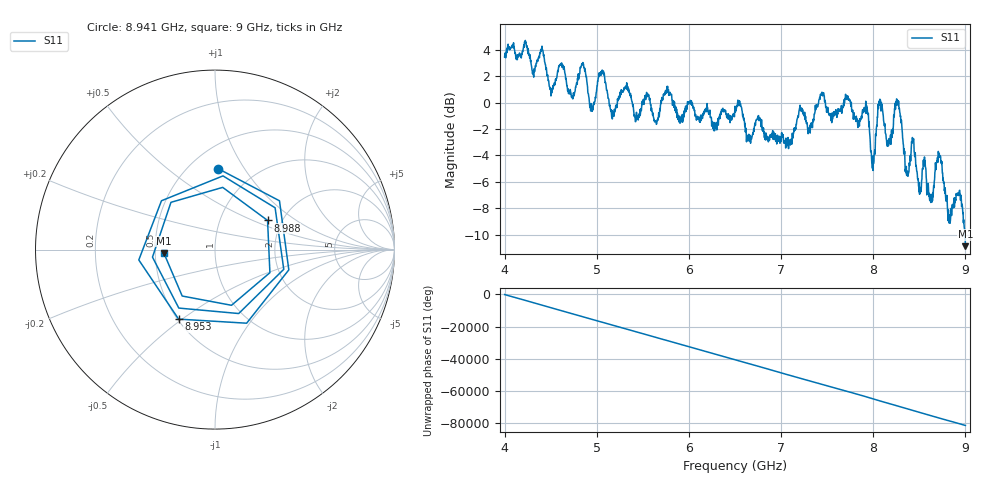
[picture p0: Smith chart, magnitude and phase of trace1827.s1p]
! Created with skrf 1.8.0 (http://scikit-rf.org).
# Hz S RI R 50.0
!freq ReS11 ImS11
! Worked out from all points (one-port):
!   1601 points, 4 GHz to 9 GHz, reference 50 ohm
!   lowest |S11| = -10.9 dB at 9 GHz (marker M1), VSWR 1.80, Z = 27.8 - j1.13 ohm
!   |S11| at or under -10 dB: 8.997042 GHz to end of sweep
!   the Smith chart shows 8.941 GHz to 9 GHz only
!   S11 on the Smith chart (normalised r, x): 8.941 GHz: 0.68, +0.77; 8.953 GHz: 0.51, -0.49; 8.988 GHz: 1.69, +0.62; 9 GHz: 0.56, -0.02
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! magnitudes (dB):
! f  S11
! 4 GHz  3.5
! 4.406 GHz  4.3
! 4.506 GHz  0.8
! 4.625 GHz  2.8
! 4.731 GHz  0.5
! 4.853 GHz  2.9
! 4.947 GHz  -0.4
! 5.047 GHz  2.3
! 5.162 GHz  -1.1
! 5.25 GHz  0.4
! 5.875 GHz  -0.8
! 6.5 GHz  -0.3
! 7.125 GHz  -2.7
! 7.75 GHz  0.2
! 7.922 GHz  -0.8
! 7.997 GHz  -5.1
! 8.069 GHz  0.1
! 8.169 GHz  -2.8
! 8.262 GHz  0.2
! 8.375 GHz  -5.5
! 8.434 GHz  -2.9
! 8.628 GHz  -6.9
! 8.719 GHz  -4.0
! 8.828 GHz  -8.9
! 8.941 GHz  -6.9
! 8.953 GHz  -7.2
! 8.988 GHz  -9.5
! 9 GHz  -10.9
